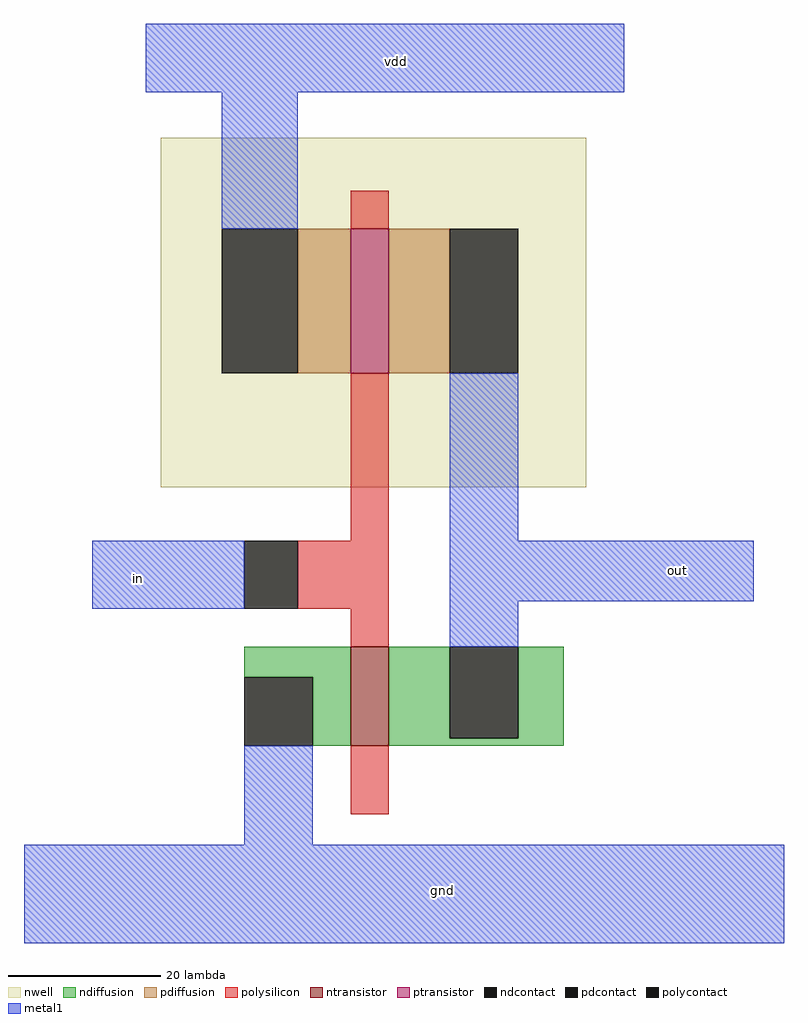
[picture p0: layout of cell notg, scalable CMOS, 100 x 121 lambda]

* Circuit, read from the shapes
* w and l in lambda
.subckt notg gnd in out vdd
M1 out in gnd VSUBS nfet w=13 l=5
M2 out in vdd n1 pfet w=19 l=5
.ends

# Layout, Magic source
magic
tech scmos
<< nwell >>
rect -19 1 37 47
<< ntransistor >>
rect 6 -33 11 -20
<< ptransistor >>
rect 6 16 11 35
<< ndiffusion >>
rect -8 -24 6 -20
rect 1 -33 6 -24
rect 11 -32 19 -20
rect 28 -32 34 -20
rect 11 -33 34 -32
<< pdiffusion >>
rect -1 16 6 35
rect 11 16 19 35
<< ndcontact >>
rect -8 -33 1 -24
rect 19 -32 28 -20
<< pdcontact >>
rect -11 16 -1 35
rect 19 16 28 35
<< polysilicon >>
rect 6 35 11 40
rect 6 -6 11 16
rect -1 -15 11 -6
rect 6 -20 11 -15
rect 6 -42 11 -33
<< polycontact >>
rect -8 -15 -1 -6
<< metal1 >>
rect -21 53 42 62
rect -11 35 -1 53
rect 19 -6 28 16
rect -28 -15 -8 -6
rect 19 -14 59 -6
rect 19 -20 28 -14
rect -8 -46 1 -33
rect -37 -59 63 -46
<< labels >>
rlabel metal1 12 57 12 57 5 vdd
rlabel metal1 -22 -11 -22 -11 1 in
rlabel metal1 49 -10 49 -10 1 out
rlabel metal1 18 -52 18 -52 1 gnd
<< end >>
